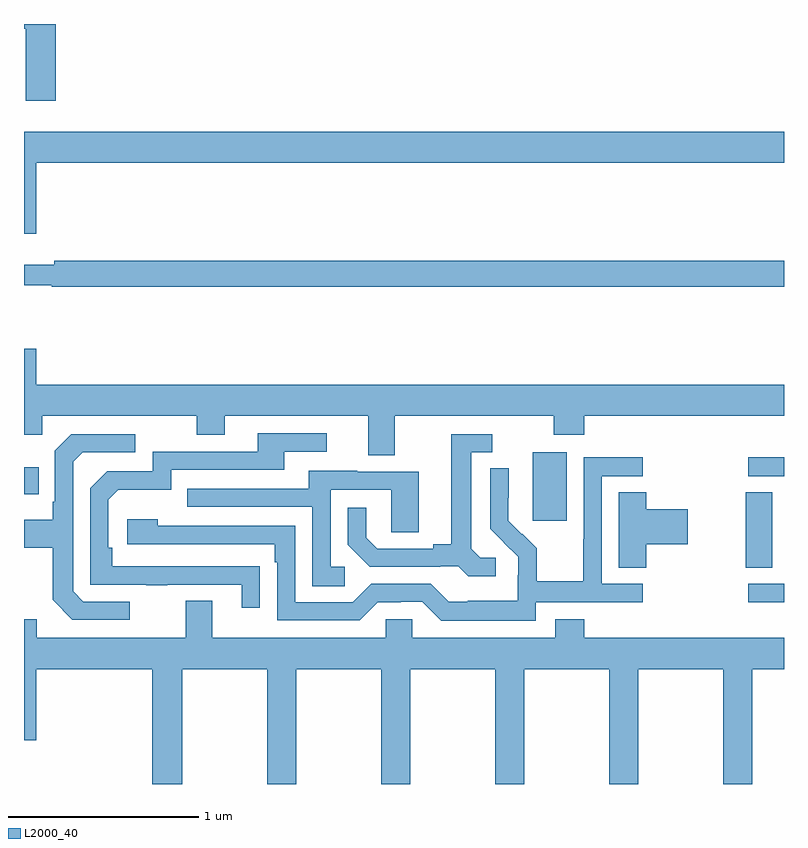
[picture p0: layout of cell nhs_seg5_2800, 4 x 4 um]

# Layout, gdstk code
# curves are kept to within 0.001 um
import gdstk
lib = gdstk.Library(unit=1e-6, precision=1e-09)
def R(c, l, rs):  # rectangles x0, y0, x1, y1
    for r in rs: c.add(gdstk.rectangle(r[:2], r[2:], *l))
def P(c, l, *ps):  # polygons
    for p in ps: c.add(gdstk.Polygon(p, *l))
L2000_40 = (2000, 40)

nhs_seg5_2800 = lib.new_cell('nhs_seg5_2800')
R(nhs_seg5_2800, L2000_40, [(276.813,879.756,277,879.852), (276.799,879.937,276.937,880.334), (275.678,880.185,275.857,880.546), (273,880.325,273.077,880.465), (276.813,880.419,277,880.518)])
P(nhs_seg5_2800, L2000_40, [(273.167,882.799),(273.001,882.799),(273.001,882.775),(273.008,882.775),(273.008,882.396),(273.167,882.396)],
  [(273.064,882.068),(277,882.068),(277,882.232),(273,882.232),(273,881.694),(273.064,881.694)],
  [(277,881.552),(273.16,881.552),(273.16,881.533),(273,881.533),(273,881.424),(273.146,881.424),(273.146,881.416),(277,881.416)],
  [(274.951,880.736),(275.788,880.736),(275.788,880.637),(275.948,880.637),(275.948,880.736),(277,880.736),(277,880.9),(273.064,880.9),(273.064,881.089),(273,881.089),(273,880.637),(273.096,880.637),(273.096,880.736),(273.91,880.736),(273.91,880.637),(274.057,880.637),(274.057,880.736),(274.811,880.736),(274.811,880.528),(274.951,880.528)],
  [(274.241,879.944),(273.464,879.945),(273.464,880.042),(273.444,880.042),(273.444,880.296),(273.497,880.349),(273.774,880.349),(273.774,880.452),(274.369,880.452),(274.369,880.548),(274.594,880.548),(274.594,880.644),(274.229,880.644),(274.229,880.548),(273.678,880.548),(273.678,880.446),(273.438,880.446),(273.348,880.356),(273.348,879.849),(273.643,879.849),(273.643,879.844),(273.755,879.844),(273.755,879.849),(274.145,879.849),(274.145,879.726),(274.241,879.726)],
  [(275.482,879.99),(275.4,879.99),(275.353,880.037),(275.353,880.545),(275.464,880.545),(275.464,880.641),(275.249,880.641),(275.249,880.061),(275.153,880.061),(275.153,880.038),(274.858,880.038),(274.801,880.095),(274.801,880.252),(274.704,880.252),(274.704,880.058),(274.82,879.942),(275.192,879.942),(275.192,879.945),(275.286,879.945),(275.338,879.893),(275.482,879.893)],
  [(273.556,879.759),(273.312,879.759),(273.258,879.813),(273.258,880.494),(273.309,880.545),(273.586,880.545),(273.586,880.641),(273.249,880.641),(273.162,880.554),(273.162,880.285),(273.15,880.285),(273.15,880.189),(273,880.189),(273,880.042),(273.15,880.042),(273.15,879.769),(273.255,879.663),(273.556,879.663)],
  [(275.694,879.756),(276.256,879.756),(276.256,879.852),(276.042,879.852),(276.042,880.419),(276.256,880.419),(276.256,880.518),(275.946,880.518),(275.946,880.088),(275.944,880.088),(275.944,879.865),(275.699,879.865),(275.699,880.039),(275.622,880.116),(275.619,880.113),(275.549,880.184),(275.55,880.46),(275.454,880.46),(275.454,880.142),(275.6,879.994),(275.6,879.897),(275.598,879.897),(275.598,879.763),(275.335,879.763),(275.335,879.759),(275.235,879.759),(275.142,879.852),(274.827,879.852),(274.731,879.756),(274.428,879.756),(274.428,880.158),(273.704,880.158),(273.704,880.192),(273.543,880.192),(273.543,880.062),(274.319,880.062),(274.319,879.965),(274.332,879.965),(274.332,879.66),(274.767,879.66),(274.863,879.756),(274.982,879.756),(274.982,879.759),(275.097,879.759),(275.197,879.659),(275.694,879.659)],
  [(274.687,879.942),(274.614,879.942),(274.614,880.347),(274.932,880.347),(274.932,880.123),(275.077,880.123),(275.077,880.443),(274.753,880.443),(274.753,880.447),(274.499,880.447),(274.499,880.353),(273.859,880.353),(273.859,880.257),(274.518,880.257),(274.518,879.841),(274.687,879.841)],
  [(276.275,880.061),(276.493,880.061),(276.493,880.244),(276.275,880.244),(276.275,880.334),(276.131,880.334),(276.131,879.937),(276.275,879.937)],
  [(273.834,879.404),(274.279,879.404),(274.279,878.799),(274.434,878.799),(274.434,879.404),(274.879,879.404),(274.879,878.799),(275.034,878.799),(275.034,879.404),(275.479,879.404),(275.479,878.799),(275.634,878.799),(275.634,879.404),(276.079,879.404),(276.079,878.799),(276.234,878.799),(276.234,879.404),(276.679,879.404),(276.679,878.799),(276.834,878.799),(276.834,879.404),(277,879.404),(277,879.568),(275.948,879.568),(275.948,879.667),(275.795,879.667),(275.795,879.568),(275.043,879.568),(275.043,879.666),(274.905,879.666),(274.905,879.568),(273.991,879.568),(273.991,879.763),(273.851,879.763),(273.851,879.568),(273.067,879.568),(273.067,879.667),(273,879.667),(273,879.03),(273.064,879.03),(273.064,879.404),(273.674,879.404),(273.674,878.799),(273.834,878.799)])

lib.write_gds('nhs_seg5_2800.gds')
